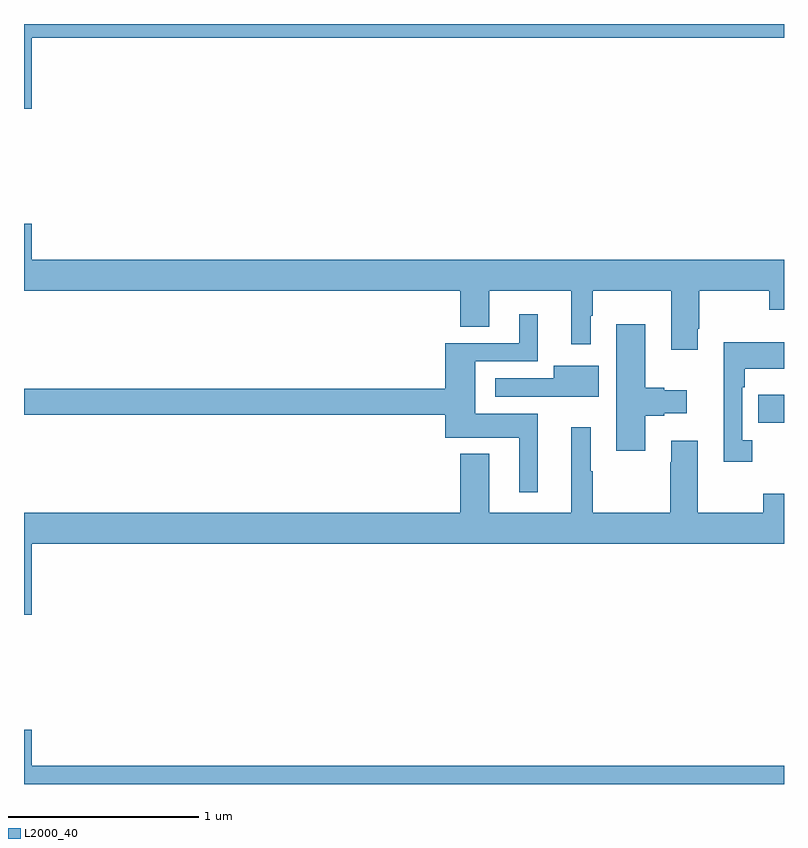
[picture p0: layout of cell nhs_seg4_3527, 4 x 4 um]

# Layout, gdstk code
import gdstk
lib = gdstk.Library(unit=1e-6, precision=1e-09)
def R(c, l, rs):  # rectangles x0, y0, x1, y1
    for r in rs: c.add(gdstk.rectangle(r[:2], r[2:], *l))
def P(c, l, *ps):  # polygons
    for p in ps: c.add(gdstk.Polygon(p, *l))
L2000_40 = (2000, 40)

nhs_seg4_3527 = lib.new_cell('nhs_seg4_3527')
R(nhs_seg4_3527, L2000_40, [(300.865,786.802,301,786.949)])
P(nhs_seg4_3527, L2000_40, [(297.04,788.828),(301,788.828),(301,788.9),(297,788.9),(297,788.454),(297.04,788.454)],
  [(300.547,787.297),(300.555,787.297),(300.555,787.496),(300.922,787.496),(300.922,787.397),(301,787.397),(301,787.66),(297.04,787.66),(297.04,787.849),(297,787.849),(297,787.496),(299.297,787.496),(299.297,787.306),(299.449,787.306),(299.449,787.496),(299.879,787.496),(299.879,787.215),(299.983,787.215),(299.983,787.364),(299.993,787.364),(299.993,787.496),(300.407,787.496),(300.407,787.185),(300.547,787.185)],
  [(299.704,786.85),(299.374,786.85),(299.374,787.125),(299.704,787.125),(299.704,787.372),(299.606,787.372),(299.606,787.221),(299.216,787.221),(299.216,786.98),(297,786.98),(297,786.844),(299.216,786.844),(299.216,786.722),(299.606,786.722),(299.606,786.435),(299.704,786.435)],
  [(300.271,786.839),(300.371,786.839),(300.371,786.851),(300.487,786.851),(300.487,786.973),(300.371,786.973),(300.371,786.986),(300.271,786.986),(300.271,787.321),(300.116,787.321),(300.116,786.654),(300.271,786.654)],
  [(300.832,786.71),(300.78,786.71),(300.78,786.989),(300.793,786.989),(300.793,787.085),(301,787.085),(301,787.225),(300.683,787.225),(300.683,786.597),(300.832,786.597)],
  [(300.025,787.102),(299.789,787.102),(299.789,787.035),(299.481,787.035),(299.481,786.939),(299.793,786.939),(299.793,786.938),(300.025,786.938)],
  [(297.04,786.164),(301,786.164),(301,786.427),(300.892,786.427),(300.892,786.328),(300.547,786.328),(300.547,786.706),(300.407,786.706),(300.407,786.593),(300.4,786.593),(300.4,786.328),(299.993,786.328),(299.993,786.545),(299.983,786.545),(299.983,786.778),(299.879,786.778),(299.879,786.328),(299.449,786.328),(299.449,786.637),(299.297,786.637),(299.297,786.328),(297,786.328),(297,785.79),(297.04,785.79)],
  [(301,784.996),(297.04,784.996),(297.04,785.185),(297,785.185),(297,784.9),(301,784.9)])

lib.write_gds('nhs_seg4_3527.gds')
